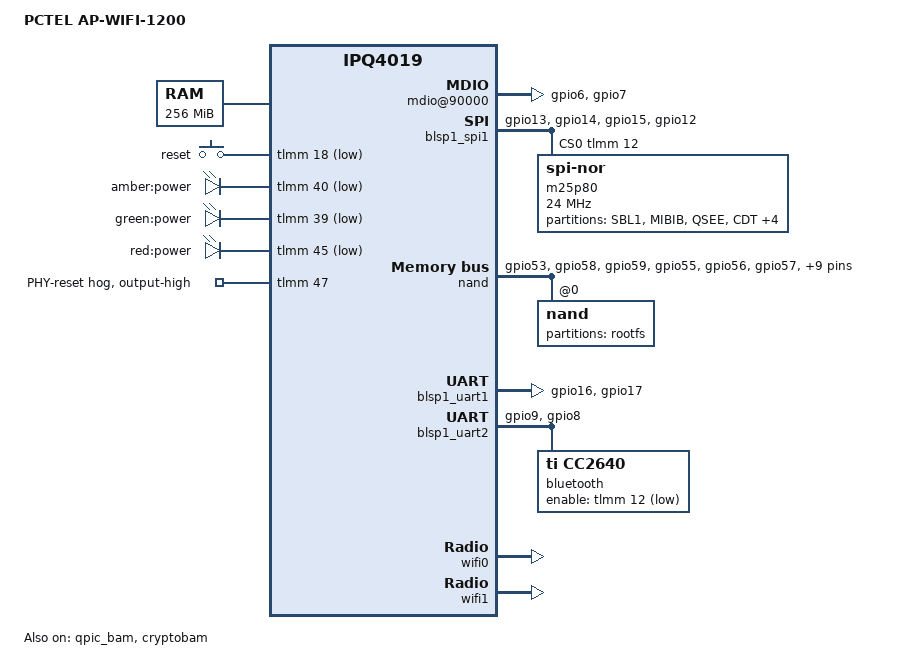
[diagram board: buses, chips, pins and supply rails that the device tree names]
// SPDX-License-Identifier: GPL-2.0-or-later OR MIT
// Henric Lindén, PCTEL Inc.

#include "qcom-ipq4019.dtsi"
#include <dt-bindings/gpio/gpio.h>
#include <dt-bindings/input/input.h>
#include <dt-bindings/soc/qcom,tcsr.h>

/ {
    model = "PCTEL AP-WIFI-1200";
    compatible = "pctel,ap-wifi-1200";

    aliases {
        led-boot = &power_amber;
        led-failsafe = &power_red;
        led-running = &power_green;
        led-upgrade = &power_amber;
    };

    memory {
        device_type = "memory";
        reg = <0x80000000 0x10000000>;
    };

    chosen {
        bootargs-append = " ubi.mtd=ubi root=/dev/ubiblock0_1";
    };

    soc {
        rng@22000 {
            status = "okay";
        };

        mdio@90000 {
            status = "okay";
            pinctrl-0 = <&mdio_pins>;
            pinctrl-names = "default";

            /delete-node/ ethernet-phy@1;
            /delete-node/ ethernet-phy@2;
            /delete-node/ ethernet-phy@3;
            /delete-node/ ethernet-phy@4;
            /delete-node/ psgmii-phy@5;
        };

        counter@4a1000 {
            compatible = "qcom,qca-gcnt";
            reg = <0x4a1000 0x4>;
        };

        tcsr@1949000 {
            compatible = "qcom,tcsr";
            reg = <0x1949000 0x100>;
            qcom,wifi_glb_cfg = <TCSR_WIFI_GLB_CFG>;
        };

        ess_tcsr@1953000 {
            compatible = "qcom,tcsr";
            reg = <0x1953000 0x1000>;
            qcom,ess-interface-select = <TCSR_ESS_PSGMII_RGMII5>;
        };

        tcsr@1957000 {
            compatible = "qcom,tcsr";
            reg = <0x1957000 0x100>;
            qcom,wifi_noc_memtype_m0_m2 = <TCSR_WIFI_NOC_MEMTYPE_M0_M2>;
        };

        crypto@8e3a000 {
            status = "okay";
        };

        watchdog@b017000 {
            status = "okay";
        };

        ess-switch@c000000 {
            switch_mac_mode = <0x3>; /* mac mode for RGMII RMII */
            //switch_mac_mode = <0x1>; /* mac mode for RGMII RMII */
            switch_lan_bmp = <0x0>; /* lan port bitmap */
            switch_wan_bmp = <0x10>; /* wan port bitmap */
        };

        edma@c080000 {
            status = "okay";
            // -id = no delay, -rxid = RX path delay, -txid = TX path delay (standard = 2.5us)
            phy-mode = "rgmii-id";
            //phy-mode = "rgmii-rxid";
            qcom,num_gmac = <1>;
            qcom,single-phy;
        };
    };

    keys {
        compatible = "gpio-keys";

        reset {
            label = "reset";
            gpios = <&tlmm 18 GPIO_ACTIVE_LOW>;
            linux,code = <KEY_RESTART>;
        };
    };

    leds {
        compatible = "gpio-leds";

        power_amber: power_amber {
            gpios = <&tlmm 40 GPIO_ACTIVE_LOW>;
            label = "amber:power";
        };

        power_green: power_green {
            gpios = <&tlmm 39 GPIO_ACTIVE_LOW>;
            label = "green:power";
        };

        power_red: power_red {
            gpios = <&tlmm 45 GPIO_ACTIVE_LOW>;
            label = "red:power";
        };
    };
};

&tlmm {
    serial_0_pins: serial_0_pinmux {
        mux {
            pins = "gpio16", "gpio17";
            function = "blsp_uart0";
            bias-disable;
        };
    };

   // Bluetooth chipset (UART1) on GPIO pin 9 and 8.
   // TODO: add enable and reset pins.
    serial_1_pins: serial_1_pinmux {
        mux {
            pins = "gpio9", "gpio8";
            function = "blsp_uart1";
            bias-disable;
        };
    };

    spi_0_pins: spi_0_pinmux {
        pin {
            function = "blsp_spi0";
            pins = "gpio13", "gpio14", "gpio15";
            drive-strength = <12>;
            bias-disable;
        };
        pin_cs {
            function = "gpio";
            pins = "gpio12";
            drive-strength = <2>;
            bias-disable;
            output-high;
        };
    };

    nand_pins: nand_pins {
        pullups {
            pins = "gpio53", "gpio58", "gpio59";
            function = "qpic";
            bias-pull-up;
        };

        pulldowns {
            pins = "gpio55", "gpio56", "gpio57", "gpio60",
            "gpio62", "gpio63", "gpio64", "gpio65",
            "gpio66", "gpio67", "gpio68", "gpio69";
            function = "qpic";
            bias-pull-down;
        };
    };

    mdio_pins: mdio_pinmux {
        mux_1 {
            pins = "gpio6";
            function = "mdio";
            bias-pull-up;
        };
        mux_2 {
            pins = "gpio7";
            function = "mdc";
            bias-pull-up;
        };
    };

    phy-reset {

        line-name = "PHY-reset";
        gpios = <47 GPIO_ACTIVE_HIGH>;
        gpio-hog;
        output-high;
    };
};

&blsp1_spi1 {
    pinctrl-0 = <&spi_0_pins>;
    pinctrl-names = "default";
    status = "okay";
    cs-gpios = <&tlmm 12 GPIO_ACTIVE_HIGH>;

    m25p80@0 {
        compatible = "jedec,spi-nor";
        reg = <0>;
        spi-max-frequency = <24000000>;

        partitions {
            compatible = "fixed-partitions";
            #address-cells = <1>;
            #size-cells = <1>;

            partition0@0 {
                label = "SBL1";
                reg = <0x00000000 0x00040000>;
                read-only;
            };

            partition1@40000 {
                label = "MIBIB";
                reg = <0x00040000 0x00020000>;
                read-only;
            };

            partition2@60000 {
                label = "QSEE";
                reg = <0x00060000 0x00060000>;
                read-only;
            };

            partition3@c0000 {
                label = "CDT";
                reg = <0x000c0000 0x00010000>;
                read-only;
            };

            partition4@d0000 {
                label = "DDRPARAMS";
                reg = <0x000d0000 0x00010000>;
                read-only;
            };

            partition5@E0000 {
                label = "APPSBLENV";
                reg = <0x000e0000 0x00010000>;
                read-only;
            };

            partition6@F0000 {
                label = "APPSBL";
                reg = <0x000f0000 0x00100000>;
                read-only;
            };

            partition7@1f0000 {
                label = "ART";
                reg = <0x001f0000 0x00010000>;
                read-only;

                compatible = "nvmem-cells";
                #address-cells = <1>;
                #size-cells = <1>;
                
                precal_art_1000: precal@1000 {
                    reg = <0x1000 0x2f20>;
                };

                precal_art_5000: precal@5000 {
                    reg = <0x5000 0x2f20>;
                };
            };
        };
    };
};

&nand {
    pinctrl-0 = <&nand_pins>;
    pinctrl-names = "default";
    status = "okay";

    nand@0 {
        partitions {
            compatible = "fixed-partitions";
            #address-cells = <1>;
            #size-cells = <1>;

            partition@0 {
                label = "rootfs";
                reg = <0x0 0x4000000>;
            };
        };
    };
};

&qpic_bam {
    status = "okay";
};

&blsp_dma {
    status = "okay";
};

// Serial console
&blsp1_uart1 {
    pinctrl-0 = <&serial_0_pins>;
    pinctrl-names = "default";
    status = "okay";
};

// Bluetooth (TI SimpleLink CC2640)
// Not a HCI module, unfortunately.
&blsp1_uart2 {
    pinctrl-0 = <&serial_1_pins>;
    pinctrl-names = "default";
    status = "okay";
    bluetooth {
        compatible = "ti,cc2640";
        enable-gpios = <&tlmm 12 GPIO_ACTIVE_LOW>;
    };
};

&gmac0 {
    qcom,phy_mdio_addr = <0>;
    qcom,poll_required = <1>;
    vlan_tag = <0 0x20>;
};

&cryptobam {
    status = "okay";
};

&wifi0 {
    status = "okay";
    nvmem-cell-names = "pre-calibration";
    nvmem-cells = <&precal_art_1000>;
    qcom,ath10k-calibration-variant = "AP-WIFI-1200";
};

&wifi1 {
    status = "okay";
    nvmem-cell-names = "pre-calibration";
    nvmem-cells = <&precal_art_5000>;
    qcom,ath10k-calibration-variant = "AP-WIFI-1200";
};
